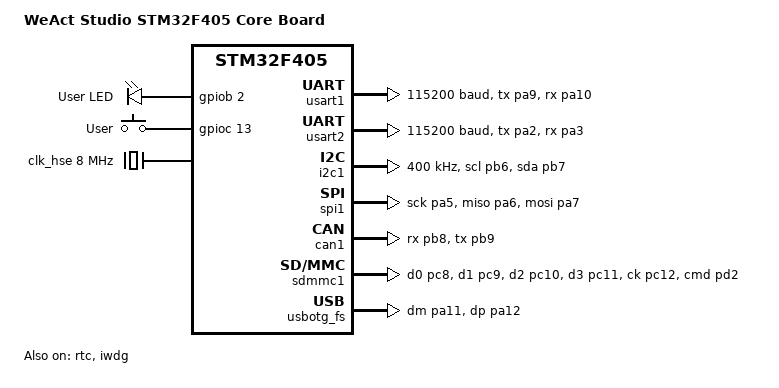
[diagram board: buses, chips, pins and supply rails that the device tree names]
/*
 * Copyright (c) 2024 Pavlo Yadvychuk
 *
 * SPDX-License-Identifier: Apache-2.0
 */

/dts-v1/;
#include <st/f4/stm32f405Xg.dtsi>
#include <st/f4/stm32f405rgtx-pinctrl.dtsi>
#include <zephyr/dt-bindings/input/input-event-codes.h>

/ {
	model = "WeAct Studio STM32F405 Core Board";
	compatible = "weact,stm32f405-core", "st,stm32f405";

	chosen {
		zephyr,console = &usart1;
		zephyr,shell-uart = &usart1;
		zephyr,sram = &sram0;
		zephyr,flash = &flash0;
		zephyr,ccm = &ccm0;
	};

	leds {
		compatible = "gpio-leds";
		led: led {
			gpios = <&gpiob 2 GPIO_ACTIVE_HIGH>;
			label = "User LED";
		};
	};

	gpio_keys {
		compatible = "gpio-keys";
		user_button: button {
			label = "User";
			gpios = <&gpioc 13 (GPIO_PULL_DOWN | GPIO_ACTIVE_HIGH)>;
			zephyr,code = <INPUT_KEY_0>;
		};
	};

	aliases {
		led0 = &led;
		sw0 = &user_button;
		watchdog0 = &iwdg;
		sdhc0 = &sdmmc1;
	};
};

&clk_lsi {
	status = "okay";
};

&clk_hse {
	clock-frequency = <DT_FREQ_M(8)>;
	status = "okay";
};

&pll {
	div-m = <8>;
	mul-n = <336>;
	div-p = <2>;
	div-q = <7>;
	clocks = <&clk_hse>;
	status = "okay";
};

&rcc {
	clocks = <&pll>;
	clock-frequency = <DT_FREQ_M(168)>;
	ahb-prescaler = <1>;
	apb1-prescaler = <4>;
	apb2-prescaler = <2>;
};

&usart1 {
	pinctrl-0 = <&usart1_tx_pa9 &usart1_rx_pa10>;
	pinctrl-names = "default";
	current-speed = <115200>;
	status = "okay";
};

&usart2 {
	pinctrl-0 = <&usart2_tx_pa2 &usart2_rx_pa3>;
	pinctrl-names = "default";
	current-speed = <115200>;
	status = "okay";
};

&i2c1 {
	pinctrl-0 = <&i2c1_scl_pb6 &i2c1_sda_pb7>;
	pinctrl-names = "default";
	status = "okay";
	clock-frequency = <I2C_BITRATE_FAST>;
};

&spi1 {
	pinctrl-0 = <&spi1_sck_pa5 &spi1_miso_pa6 &spi1_mosi_pa7>;
	pinctrl-names = "default";
	status = "okay";
};

&can1 {
	pinctrl-0 = <&can1_rx_pb8 &can1_tx_pb9>;
	pinctrl-names = "default";
	status = "okay";
};

&sdmmc1 {
	status = "okay";
	pinctrl-0 = <&sdio_d0_pc8 &sdio_d1_pc9
		     &sdio_d2_pc10 &sdio_d3_pc11
		     &sdio_ck_pc12 &sdio_cmd_pd2>;
	pinctrl-names = "default";
	cd-gpios = <&gpioa 8 (GPIO_ACTIVE_HIGH | GPIO_PULL_UP)>;
};

&rtc {
	clocks = <&rcc STM32_CLOCK_BUS_APB1 0x10000000>,
		 <&rcc STM32_SRC_LSI RTC_SEL(2)>;
	status = "okay";
};

zephyr_udc0: &usbotg_fs {
	pinctrl-0 = <&usb_otg_fs_dm_pa11 &usb_otg_fs_dp_pa12>;
	pinctrl-names = "default";
	status = "okay";
};

&iwdg {
	status = "okay";
};

&backup_sram {
	status = "okay";
};
